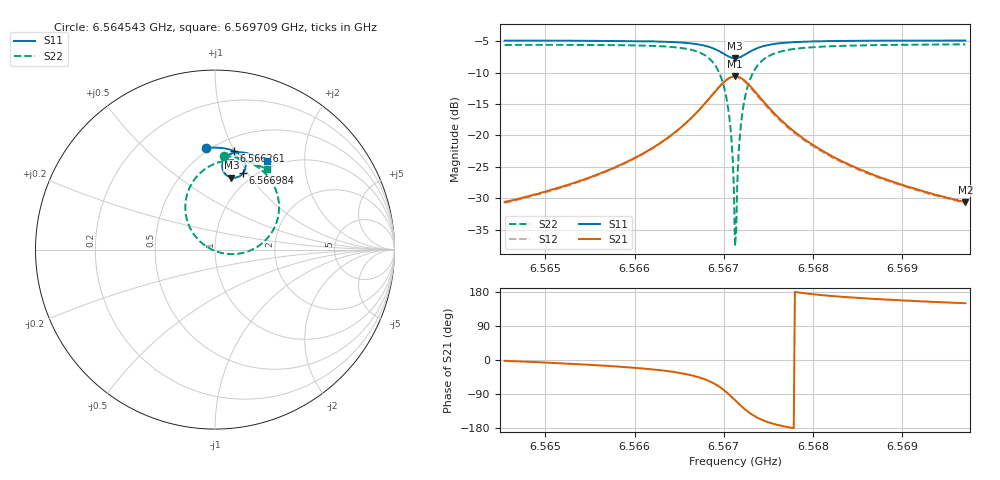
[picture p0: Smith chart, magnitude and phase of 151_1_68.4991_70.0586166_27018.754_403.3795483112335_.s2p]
#  HZ  S  RI  R  50.00
! Rohde & Schwarz Vector Network Analyzer
! Rohde-Schwarz,ZNB20-2Port,1311601062101988,3.16
! Created: UTC 3/20/2024, 5:10:25 PM
! freq[Hz]  re:S11  im:S11  re:S21  im:S21  re:S12  im:S12  re:S22  im:S22
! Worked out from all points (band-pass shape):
!   401 points, 6.564543 GHz to 6.569709 GHz, reference 50 ohm
!   highest |S21| = -10.60 dB at 6.567126 GHz (marker M1); lowest = -30.6 dB at 6.569709 GHz (marker M2)
!   |S21| within 3 dB of the highest: 6.566869 GHz to 6.567386 GHz (516.3 kHz wide, 0.00786 % of centre)
!   lowest |S11| = -7.7 dB at 6.567126 GHz (marker M3), VSWR 2.40, Z = 42.1 + j40.7 ohm
!   |S11| at or under -10 dB: nowhere
!   |S22| runs from -37.6 to -5.5 dB; largest |S21 - S12| = 0.014
!   S11 on the Smith chart (normalised r, x): 6.564543 GHz: 0.48, +0.80; 6.566261 GHz: 0.62, +1.00; 6.566984 GHz: 0.89, +0.95; 6.569709 GHz: 0.90, +1.32
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6.5645435e9  -0.0486 0.5671  0.0295 -0.0011  0.0289 -0.00153  0.052 0.5233
6.5654087e9  0.0231 0.5673  0.043 -0.00875  0.0423 -0.00947  0.136 0.508
6.566261e9  0.1049 0.5498  0.0758 -0.0374  0.0746 -0.0383  0.2541 0.4479
6.5662739e9  0.1064 0.5493  0.0767 -0.0383  0.0755 -0.0392  0.2565 0.4459
6.5667647e9  0.1645 0.4962  0.1126 -0.1293  0.11 -0.132  0.355 0.269
6.5668938e9  0.1701 0.4592  0.1016 -0.1941  0.0967 -0.1979  0.3405 0.1452
6.5669842e9  0.1569 0.4261  0.0617 -0.2509  0.0532 -0.2541  0.2677 0.0393
6.567023e9  0.144 0.4131  0.0313 -0.2721  0.0206 -0.2739  0.211 0.00156
6.5670617e9  0.1264 0.4038  -0.00741 -0.2862  -0.0196 -0.2855  0.14 -0.0216
6.5670875e9  0.1128 0.4004  -0.0364 -0.2896  -0.0492 -0.2869  0.0876 -0.0252
6.5671134e9  0.0982 0.4004  -0.0664 -0.2874  -0.0792 -0.2823  0.0341 -0.0181
6.5671263e9  0.0912 0.4016  -0.0812 -0.2838  -0.0938 -0.2779  0.00805 -0.0104
6.5671392e9  0.0841 0.4034  -0.0958 -0.279  -0.1078 -0.2719  -0.0169 2.97e-05
6.5671521e9  0.0773 0.4063  -0.1095 -0.2729  -0.121 -0.2646  -0.0405 0.0128
6.5671779e9  0.0652 0.4137  -0.1347 -0.2569  -0.1445 -0.2467  -0.0824 0.0445
6.5672167e9  0.0512 0.4288  -0.1639 -0.2261  -0.1709 -0.2142  -0.1291 0.1025
6.5672683e9  0.0414 0.4517  -0.1862 -0.1806  -0.1894 -0.1686  -0.1606 0.1852
6.5673329e9  0.0412 0.4785  -0.1923 -0.1285  -0.192 -0.1179  -0.1623 0.2767
6.5675654e9  0.079 0.5294  -0.1474 -0.0285  -0.1443 -0.0241  -0.0613 0.4446
6.5679915e9  0.1422 0.5423  -0.0842 0.00898  -0.0821 0.0104  0.0792 0.4982
6.5688568e9  0.2249 0.5227  -0.0408 0.0158  -0.04 0.016  0.2105 0.4816
6.5697091e9  0.2887 0.4923  -0.0254 0.0148  -0.0249 0.0149  0.2875 0.4474
